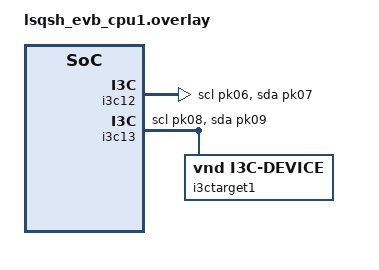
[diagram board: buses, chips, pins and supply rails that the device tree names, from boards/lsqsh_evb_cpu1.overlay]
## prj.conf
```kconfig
# nothing here
CONFIG_LOG=y
CONFIG_I3C=y
CONFIG_I3C_USE_IBI=y

# CONFIG_I3C_LOG_LEVEL_DBG=y 
CONFIG_I3C_LOG_LEVEL_ERR=y
```

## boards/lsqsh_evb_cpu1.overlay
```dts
&i3c12 {
    interrupts = <I3C12_IRQN 7>;
    is-secondary;
    status = "okay";
    tgt-pid = <0x0208 0x13811000>;
    dcr = <0x4>;
    bcr = <0x06>;

    pinctrl-0 = <
        &i3c12_scl_pk06
        &i3c12_sda_pk07
    >;
    pinctrl-names = "default";
};

&i3c13_scl_pk08 {
    drive-strength = <1>;
    bias-pull-up2;
};
&i3c13_sda_pk09 {
    drive-strength = <1>;
    bias-pull-up2;
};

&i3c13 {
    i3c-scl-hz = <12500000>;
    i2c-scl-hz = <400000>;
    status = "okay";
    
    own-dynamic_address = <0x38>;
    tgt-pid = <0x5 0x55>;
    dcr = <0x4>;
    bcr = <0x42>;
    // I3C设备默认中断优先级为7，也就是clic中断控制器的最高优先级，但是当I3C主从机相互连接对测时，需要确保从机的优先级比主机高，所以将主机的优先级降为6.
    interrupts = <I3C13_IRQN 6>;

    pinctrl-0 = <
        &i3c13_scl_pk08
        &i3c13_sda_pk09
    >;
    pinctrl-names = "default";

    i3ctarget1: i3ctarget@20813811000 {
        compatible = "vnd,i3c-device";
        reg = < 0 0x0208 0x13811000>;
        assigned-address = <0x32>;
        status = "okay";
    };

};
```

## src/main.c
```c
/*
 * Copyright (c) 2012-2014 Wind River Systems, Inc.
 *
 * SPDX-License-Identifier: Apache-2.0
 */

#include <stdio.h>
#include <zephyr/drivers/i2c.h>
#include <zephyr/kernel.h>
#include <stdlib.h>
#include <stdio.h>
#include <zephyr/drivers/i3c/ccc.h>

#include <zephyr/drivers/i3c.h>


#include "core_rv32.h"
static const struct device *i3c_dev_controller = DEVICE_DT_GET(DT_NODELABEL(i3c13));
static const struct device *i3c_dev_target1 = DEVICE_DT_GET(DT_NODELABEL(i3c12));

volatile bool ibi_recived = false;
int target1_ibi_callback(struct i3c_device_desc *target,struct i3c_ibi_payload *payload);
int target2_ibi_callback(struct i3c_device_desc *target,struct i3c_ibi_payload *payload);

int target1_ibi_callback(struct i3c_device_desc *target,struct i3c_ibi_payload *payload)
{
    printf(" target1_ibi_callback ");
    return 0;
}

int target2_ibi_callback(struct i3c_device_desc *target,struct i3c_ibi_payload *payload)
{
    printf(" target2_ibi_callback ");
    return 0;
}

typedef int (*i3c_target_ibi_cb_t)(struct i3c_device_desc *target,
				   struct i3c_ibi_payload *payload);
// static const struct device *i3c_controller = DEVICE_DT_GET(DT_NODELABEL(i3ctarget2));
int i3c_target_ibi_cb(struct i3c_device_desc *target,
				   struct i3c_ibi_payload *payload)
{
    printf(" i3c_target_ibi_cb ,payload : ");
    for(uint8_t i=0;i<payload->payload_len;i++)
    {
        printf(" 0x%X ",payload->payload[i]);
    }
    printf("\r\n");
    ibi_recived = true;
    return 0;
}   

enum{
    TARGET_CONTINUE,
    TARGET_END,
};

#define TEST_COUNT 100
uint8_t target_tx_buffer[TEST_COUNT];
uint8_t target_rx_buffer[TEST_COUNT];
uint8_t controller_tx_buf[TEST_COUNT];
uint8_t controller_rx_buf[TEST_COUNT];
uint8_t test_idx;
int target1_write_requested_cb(struct i3c_target_config *config)
{
    return 0;
}
volatile static uint16_t target_rx_count = 0;
volatile static uint16_t tx_count = 0;
int target1_write_received_cb(struct i3c_target_config *config,uint8_t val)
{
    target_rx_buffer[target_rx_count] = val;
    target_rx_count++;
    return 0;
}

int target1_read_requested_cb(struct i3c_target_config *config,uint8_t *val)
{
    *val = target_tx_buffer[tx_count];
    tx_count++;
    if(tx_count == TEST_COUNT)
    {
        return TARGET_END;
    }

    return TARGET_CONTINUE;
}

int target1_read_processed_cb(struct i3c_target_config *config,uint8_t *val)
{
    *val = target_tx_buffer[tx_count];
    tx_count++;

    if(tx_count == TEST_COUNT)
    {
        return TARGET_END;
    }

    return TARGET_CONTINUE;
}

int target1_stop_cb(struct i3c_target_config *config)
{
    return 0;
}

struct i3c_target_callbacks target1_callbacks = 
{
    .write_requested_cb = target1_write_requested_cb,
    .write_received_cb = target1_write_received_cb,
    .read_requested_cb = target1_read_requested_cb,
    .read_processed_cb = target1_read_processed_cb,
    .stop_cb = target1_stop_cb,
};

struct i3c_target_config target1_cfg;

int main(void)
{
    while(1)
    {
        for(uint16_t i = 0;i<TEST_COUNT;i++)
        {
            target_tx_buffer[i] = i+1;
            controller_tx_buf[i] = i+1;
            // controller_tx_buf[i] = i+101;
        }
        memset(target_rx_buffer,0,TEST_COUNT);
        memset(controller_rx_buf,0,TEST_COUNT);

        uint8_t target1_addr = 0x32;
        target1_cfg.address = target1_addr;
        target1_cfg.callbacks = &target1_callbacks;
        test_idx = 1;
        /* target */
        i3c_target_register(i3c_dev_target1,&target1_cfg);
        /*controller*/
        struct i3c_device_desc *i3c_target1 = NULL;
        i3c_target1 = i3c_dev_list_i3c_addr_find(i3c_dev_controller,target1_addr);
        i3c_write(i3c_target1,controller_tx_buf,sizeof(controller_tx_buf));

        printf("\r\n test 1 end \r\n");
        printf("target recive end ,rx_count = %d \r\n",target_rx_count);
        for (int i = 0; i < target_rx_count; i++) {
            printf("%d ", target_rx_buffer[i]);
        }
        if(memcmp(controller_tx_buf,target_rx_buffer,TEST_COUNT) !=0)
        {
            printf("\r\n i3c test 1 error\r\n");
            while (1);
        }else
        {
            printf("\r\n i3c test 1 succeed\r\n");
        }


        test_idx = 2;
        /*target*/
        uint8_t pre_count = 0;
        pre_count = i3c_target_tx_write(i3c_dev_target1,target_tx_buffer,sizeof(target_tx_buffer),0);
        tx_count += pre_count;
        printf("target tx pre_count = %d\r\n",pre_count);

        /*controller*/
        i3c_read(i3c_target1,controller_rx_buf,sizeof(controller_rx_buf));
        printf("\r\n test 2 end \r\n");
        printf("controller recive end \r\n");
        for (int i = 0; i < TEST_COUNT; i++) {
            printf("%d ", controller_rx_buf[i]);
        }
        if(memcmp(target_tx_buffer,controller_rx_buf,TEST_COUNT) !=0)
        {
            printf("\r\n i3c test 2 error\r\n");
            while (1);
        }else
        {
            printf("\r\n i3c test 2 succeed\r\n");
        }

        target_rx_count = 0;
        tx_count = 0;


    #ifdef CONFIG_I3C_USE_IBI
        /*test 3 ： ibi*/
        /*controller enable ibi function*/
        i3c_ibi_enable(i3c_target1);
        i3c_target1->ibi_cb = i3c_target_ibi_cb;
        /*target raise a ibi*/
        static uint8_t ibi_data[4];/*the qsh i3c controller receives a maximum of 4 bytes of ibi payloads*/
        ibi_data[0] = 0xaa;
        ibi_data[1] = 0xbb;
        ibi_data[2] = 0xcc;
        ibi_data[3] = 0xdd;
        
        static struct i3c_ibi ibi_request =
        {
            .ibi_type = I3C_IBI_TARGET_INTR,
            .payload = ibi_data,
            .payload_len = 4,
        };
        ibi_request.payload_len = 4;
        i3c_ibi_raise(i3c_dev_target1,&ibi_request);

        while(ibi_recived == false);
        ibi_recived = false;

        ibi_request.payload_len = 1;
        i3c_ibi_raise(i3c_dev_target1,&ibi_request);

        while(ibi_recived == false);
        ibi_recived = false;


    #endif
    }
    return 0;
}
```
